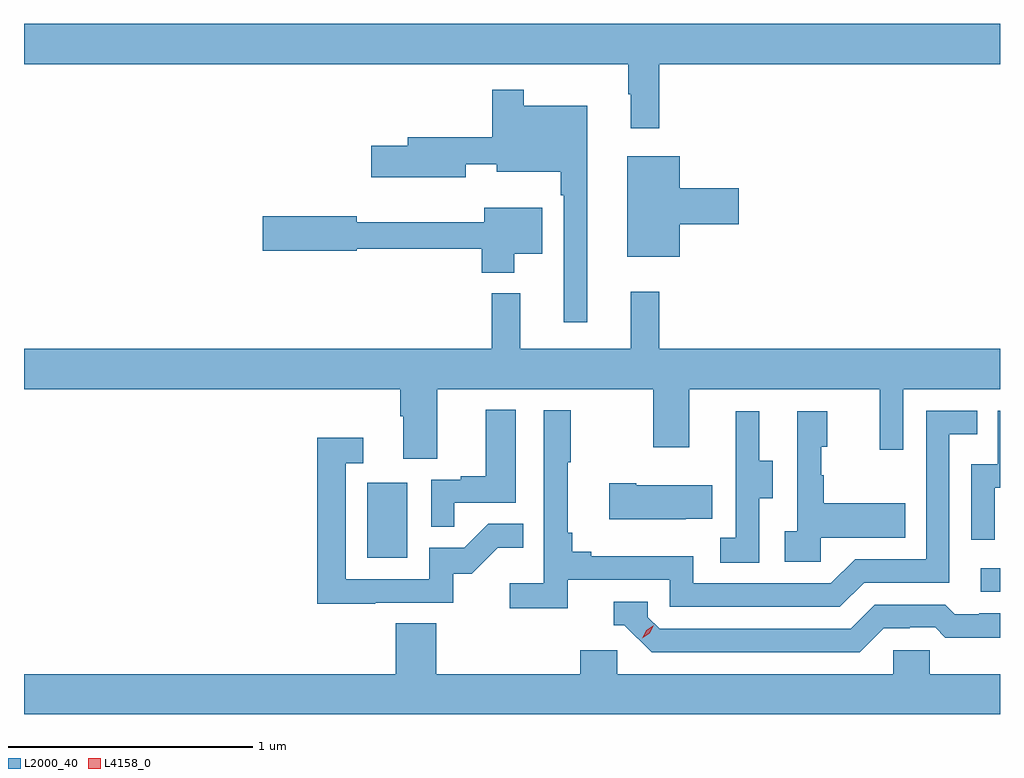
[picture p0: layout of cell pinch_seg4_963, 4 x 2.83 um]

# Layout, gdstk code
import gdstk
lib = gdstk.Library(unit=1e-6, precision=1e-09)
def R(c, l, rs):  # rectangles x0, y0, x1, y1
    for r in rs: c.add(gdstk.rectangle(r[:2], r[2:], *l))
def P(c, l, *ps):  # polygons
    for p in ps: c.add(gdstk.Polygon(p, *l))
L2000_40 = (2000, 40)
L4158_0 = (4158, 0)

pinch_seg4_963 = lib.new_cell('pinch_seg4_963')
R(pinch_seg4_963, L2000_40, [(878.679,784.002,878.757,784.098), (876.164,784.14,876.328,784.447)])
P(pinch_seg4_963, L2000_40, [(877.361,786.164),(878.757,786.164),(878.757,786.328),(874.757,786.328),(874.757,786.164),(877.233,786.164),(877.233,786.041),(877.244,786.041),(877.244,785.901),(877.361,785.901)],
  [(877.066,785.992),(876.805,785.992),(876.805,786.058),(876.676,786.058),(876.676,785.863),(876.329,785.863),(876.329,785.829),(876.18,785.829),(876.18,785.699),(876.568,785.699),(876.568,785.753),(876.695,785.753),(876.695,785.723),(876.957,785.723),(876.957,785.627),(876.969,785.627),(876.969,785.106),(877.066,785.106)],
  [(877.444,785.507),(877.687,785.507),(877.687,785.654),(877.444,785.654),(877.444,785.785),(877.229,785.785),(877.229,785.375),(877.444,785.375)],
  [(876.766,785.387),(876.88,785.387),(876.88,785.575),(876.644,785.575),(876.644,785.516),(876.12,785.516),(876.12,785.54),(875.736,785.54),(875.736,785.398),(876.12,785.398),(876.12,785.406),(876.632,785.406),(876.632,785.309),(876.766,785.309)],
  [(876.451,784.832),(877.336,784.832),(877.336,784.593),(877.483,784.593),(877.483,784.832),(878.264,784.832),(878.264,784.584),(878.361,784.584),(878.361,784.832),(878.757,784.832),(878.757,784.996),(877.361,784.996),(877.361,785.23),(877.244,785.23),(877.244,784.996),(876.791,784.996),(876.791,785.224),(876.673,785.224),(876.673,784.996),(874.757,784.996),(874.757,784.832),(876.299,784.832),(876.299,784.72),(876.311,784.72),(876.311,784.546),(876.451,784.546)],
  [(876.521,784.365),(876.772,784.365),(876.772,784.747),(876.65,784.747),(876.65,784.474),(876.547,784.474),(876.547,784.461),(876.426,784.461),(876.426,784.267),(876.521,784.267)],
  [(876.986,784.05),(877.404,784.05),(877.404,783.939),(878.101,783.939),(878.2,784.038),(878.55,784.038),(878.55,784.647),(878.663,784.647),(878.663,784.743),(878.454,784.743),(878.454,784.134),(878.163,784.134),(878.064,784.035),(877.5,784.035),(877.5,784.147),(877.081,784.147),(877.081,784.166),(877.004,784.166),(877.004,784.243),(876.985,784.243),(876.985,784.531),(876.997,784.531),(876.997,784.744),(876.888,784.744),(876.888,784.036),(876.747,784.036),(876.747,783.934),(876.986,783.934)],
  [(878.736,784.427),(878.757,784.427),(878.757,784.743),(878.748,784.743),(878.748,784.524),(878.64,784.524),(878.64,784.215),(878.736,784.215)],
  [(878.022,784.223),(878.369,784.223),(878.369,784.363),(878.035,784.363),(878.035,784.478),(878.025,784.478),(878.025,784.596),(878.05,784.596),(878.05,784.741),(877.926,784.741),(877.926,784.25),(877.875,784.25),(877.875,784.125),(878.022,784.125)],
  [(877.77,784.384),(877.825,784.384),(877.825,784.539),(877.771,784.539),(877.771,784.741),(877.673,784.741),(877.673,784.527),(877.674,784.527),(877.674,784.223),(877.611,784.223),(877.611,784.12),(877.77,784.12)],
  [(876.197,783.957),(876.516,783.957),(876.516,784.074),(876.592,784.074),(876.699,784.181),(876.803,784.181),(876.803,784.28),(876.66,784.28),(876.562,784.182),(876.417,784.182),(876.417,784.053),(876.075,784.053),(876.075,784.527),(876.148,784.527),(876.148,784.633),(875.959,784.633),(875.959,783.952),(876.197,783.952)],
  [(877.469,784.301),(877.577,784.301),(877.577,784.438),(877.267,784.438),(877.267,784.446),(877.155,784.446),(877.155,784.298),(877.469,784.298)],
  [(878.281,783.852),(878.388,783.852),(878.388,783.855),(878.491,783.855),(878.533,783.813),(878.757,783.813),(878.757,783.912),(878.671,783.912),(878.671,783.909),(878.572,783.909),(878.533,783.948),(878.244,783.948),(878.145,783.849),(877.362,783.849),(877.314,783.897),(877.314,783.96),(877.175,783.96),(877.175,783.864),(877.218,783.864),(877.329,783.753),(878.182,783.753)],
  [(878.757,783.664),(878.469,783.664),(878.469,783.762),(878.319,783.762),(878.319,783.664),(877.188,783.664),(877.188,783.762),(877.037,783.762),(877.037,783.664),(876.446,783.664),(876.446,783.872),(876.281,783.872),(876.281,783.664),(874.757,783.664),(874.757,783.5),(878.757,783.5)])
P(pinch_seg4_963, L4158_0, [(877.291,783.811),(877.291,783.811),(877.307,783.844),(877.337,783.863),(877.338,783.863),(877.338,783.863),(877.322,783.83),(877.291,783.811)])

lib.write_gds('pinch_seg4_963.gds')
